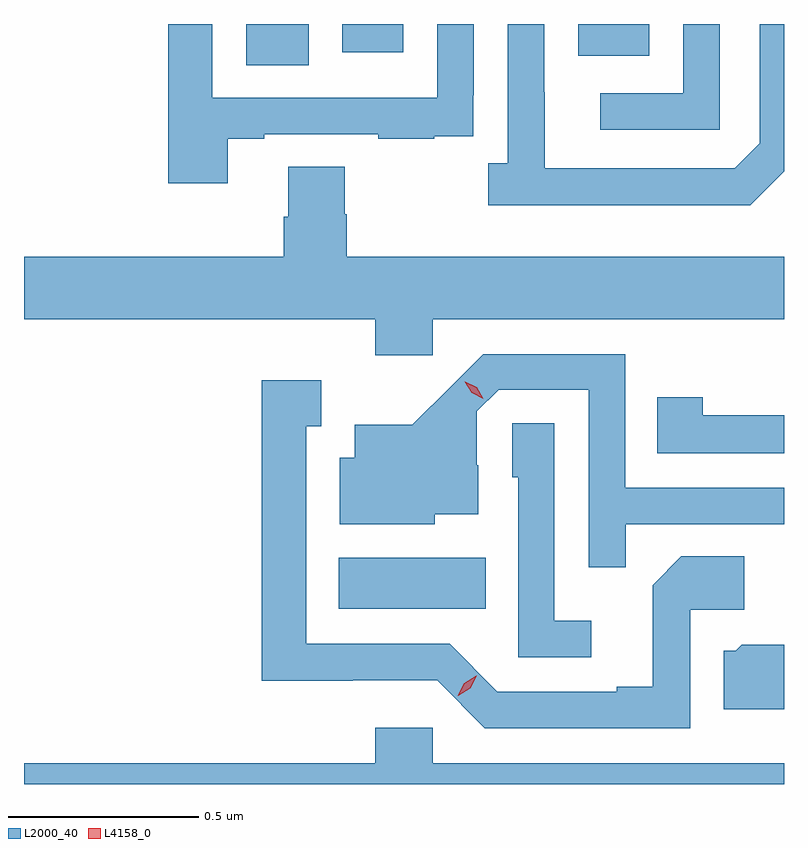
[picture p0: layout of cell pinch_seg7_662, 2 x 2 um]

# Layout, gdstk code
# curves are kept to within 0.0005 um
import gdstk
lib = gdstk.Library(unit=1e-6, precision=1e-09)
def R(c, l, rs):  # rectangles x0, y0, x1, y1
    for r in rs: c.add(gdstk.rectangle(r[:2], r[2:], *l))
def P(c, l, *ps):  # polygons
    for p in ps: c.add(gdstk.Polygon(p, *l))
L2000_40 = (2000, 40)
L4158_0 = (4158, 0)

pinch_seg7_662 = lib.new_cell('pinch_seg7_662')
R(pinch_seg7_662, L2000_40, [(121.163,1014.506,121.55,1014.64), (120.92,1015.936,121.084,1016.045), (121.793,1015.961,121.981,1016.045), (121.172,1015.971,121.333,1016.045)])
P(pinch_seg7_662, L2000_40, [(122.335,1015.657),(122.335,1016.045),(122.271,1016.045),(122.271,1015.731),(122.205,1015.665),(121.705,1015.665),(121.705,1015.865),(121.704,1015.865),(121.704,1016.045),(121.608,1016.045),(121.608,1015.678),(121.557,1015.678),(121.557,1015.568),(122.246,1015.568)],
  [(122.166,1016.045),(122.07,1016.045),(122.07,1015.863),(121.851,1015.863),(121.851,1015.767),(122.166,1015.767)],
  [(120.871,1015.743),(120.967,1015.743),(120.967,1015.755),(121.267,1015.755),(121.267,1015.743),(121.415,1015.743),(121.415,1015.749),(121.517,1015.749),(121.517,1015.858),(121.518,1015.858),(121.518,1016.045),(121.422,1016.045),(121.422,1015.851),(120.831,1015.851),(120.831,1016.045),(120.715,1016.045),(120.715,1015.626),(120.871,1015.626)],
  [(121.41,1015.268),(122.335,1015.268),(122.335,1015.432),(121.184,1015.432),(121.184,1015.545),(121.179,1015.545),(121.179,1015.67),(121.031,1015.67),(121.031,1015.538),(121.019,1015.538),(121.019,1015.432),(120.335,1015.432),(120.335,1015.268),(121.259,1015.268),(121.259,1015.173),(121.41,1015.173)],
  [(121.919,1014.729),(122.335,1014.729),(122.335,1014.825),(121.917,1014.825),(121.917,1015.176),(121.544,1015.176),(121.357,1014.991),(121.205,1014.991),(121.205,1014.904),(121.166,1014.904),(121.166,1014.728),(121.416,1014.728),(121.416,1014.755),(121.531,1014.755),(121.531,1014.884),(121.527,1014.884),(121.527,1015.026),(121.584,1015.083),(121.821,1015.083),(121.821,1014.616),(121.919,1014.616)],
  [(122.088,1014.504),(122.23,1014.504),(122.23,1014.644),(122.065,1014.644),(121.989,1014.568),(121.989,1014.301),(121.895,1014.301),(121.895,1014.288),(121.581,1014.288),(121.455,1014.414),(121.078,1014.414),(121.078,1014.987),(121.117,1014.987),(121.117,1015.108),(120.96,1015.108),(120.96,1014.317),(121.2,1014.317),(121.2,1014.318),(121.422,1014.318),(121.548,1014.192),(122.088,1014.192)],
  [(122.335,1015.016),(122.121,1015.016),(122.121,1015.063),(122.002,1015.063),(122.002,1014.915),(122.335,1014.915)],
  [(121.828,1014.475),(121.731,1014.475),(121.731,1014.995),(121.62,1014.995),(121.62,1014.852),(121.635,1014.852),(121.635,1014.378),(121.828,1014.378)],
  [(122.335,1014.412),(122.224,1014.412),(122.208,1014.396),(122.177,1014.396),(122.177,1014.242),(122.335,1014.242)],
  [(122.335,1014.1),(121.41,1014.1),(121.41,1014.193),(121.259,1014.193),(121.259,1014.1),(120.335,1014.1),(120.335,1014.045),(122.335,1014.045)])
P(pinch_seg7_662, L4158_0, [(121.544,1015.059),(121.513,1015.074),(121.495,1015.104),(121.495,1015.104),(121.496,1015.104),(121.527,1015.089),(121.544,1015.059),(121.544,1015.059)],
  [(121.477,1014.277),(121.477,1014.277),(121.494,1014.31),(121.525,1014.33),(121.526,1014.33),(121.526,1014.33),(121.509,1014.297),(121.478,1014.277)])

lib.write_gds('pinch_seg7_662.gds')
